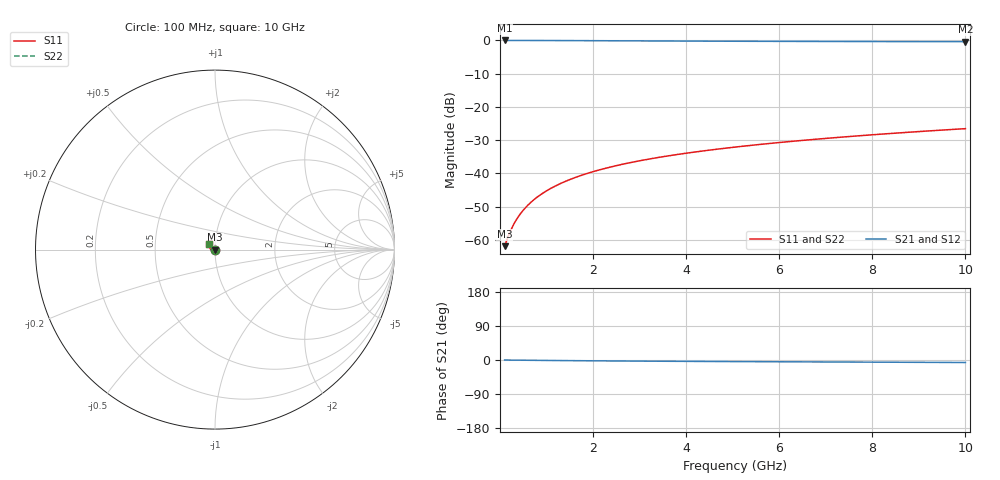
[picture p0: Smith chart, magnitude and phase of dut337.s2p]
! Touchstone file exported from HFSS 2024.1.0
!  File:  C:/UserFiles/LocalFiles/RDL_TSV_Batchsim/temp_TSV1_337_1779618642.aedt
!  Generated:  06:42:58 PM May 24, 2026
!  Design:  TSV1
!  Project:  temp_TSV1_337_1779618642
!  Setup:  Setup1
!  Solution:  Sweep
! Variables:
!  dtsv = 5.18um
!  hbump = 3um
!  htsv = 98.28um
!  lrdl = 252.1521522um
!  p = 40
!  p1 = 51.3um
!  t = 500um
!  trdl = 3um
!  wrdl = 24.89489489um
# GHz S MA R 50.000000
! Terminal data exported
! Port[1] = TSV22_T1
! Port[2] = TSV22_T2
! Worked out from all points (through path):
!   100 points, 100 MHz to 10 GHz, reference 50 ohm
!   highest |S21| = -0.01 dB at 100 MHz (marker M1); lowest = -0.4 dB at 10 GHz (marker M2)
!   lowest |S11| = -61.9 dB at 100 MHz (marker M3), VSWR 1.00, Z = 50.1 - j0.056 ohm
!   |S11| at or under -10 dB: start of sweep to end of sweep
!   |S22| runs from -61.9 to -26.6 dB; largest |S21 - S12| = 7.1e-15
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0.1  0.0007996 -44.4  0.9994 -0.1  0.9994 -0.1  0.0007996 -44.4
! Gamma 0 0 0 0
! Port Impedance 50 0 50 0
0.2  0.001238 -66.0  0.9993 -0.2  0.9993 -0.2  0.001238 -66.0
0.3  0.001737 -77.3  0.9992 -0.4  0.9992 -0.4  0.001737 -77.3
0.4  0.002256 -84.6  0.999 -0.5  0.999 -0.5  0.002256 -84.6
0.5  0.002783 -90.1  0.9988 -0.6  0.9988 -0.6  0.002783 -90.1
0.6  0.003314 -94.6  0.9985 -0.7  0.9985 -0.7  0.003314 -94.6
0.7  0.003846 -98.6  0.9982 -0.8  0.9982 -0.8  0.003846 -98.6
0.9  0.004907 -105.5  0.9974 -1.0  0.9974 -1.0  0.004907 -105.5
1  0.005436 -108.6  0.997 -1.1  0.997 -1.1  0.005436 -108.6
1.2  0.006486 -114.4  0.9961 -1.4  0.9961 -1.4  0.006486 -114.4
1.5  0.008043 -122.4  0.9944 -1.7  0.9944 -1.7  0.008043 -122.4
1.8  0.009571 -129.8  0.9925 -2.0  0.9925 -2.0  0.009571 -129.9
2.1  0.01107 -136.8  0.9906 -2.2  0.9906 -2.2  0.01107 -136.8
2.5  0.01303 -145.3  0.9878 -2.6  0.9878 -2.6  0.01303 -145.3
2.9  0.01495 -153.2  0.9851 -2.9  0.9851 -2.9  0.01495 -153.2
3.4  0.01729 -162.1  0.9817 -3.2  0.9817 -3.2  0.01729 -162.1
4.2  0.02096 -174.5  0.9769 -3.7  0.9769 -3.7  0.02096 -174.5
5.1  0.02501 173.9  0.9723 -4.2  0.9723 -4.2  0.02501 173.9
5.9  0.02859 165.2  0.9689 -4.6  0.9689 -4.6  0.02859 165.2
6.7  0.03216 157.8  0.966 -5.0  0.966 -5.0  0.03217 157.8
8.4  0.03977 145.2  0.9613 -5.8  0.9613 -5.8  0.03977 145.2
10  0.04696 136.2  0.9581 -6.6  0.9581 -6.6  0.04696 136.2
